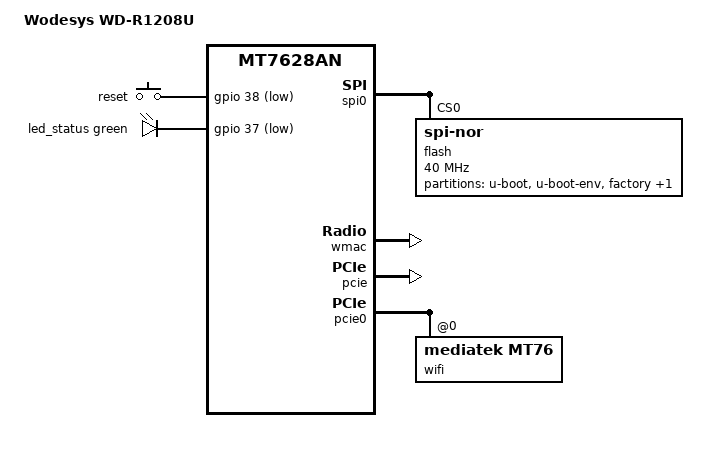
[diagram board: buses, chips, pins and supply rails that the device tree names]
// SPDX-License-Identifier: GPL-2.0-or-later OR MIT

#include "mt7628an.dtsi"

#include <dt-bindings/gpio/gpio.h>
#include <dt-bindings/input/input.h>
#include <dt-bindings/leds/common.h>

/ {
	compatible = "wodesys,wd-r1208u", "mediatek,mt7628an-soc";
	model = "Wodesys WD-R1208U";

	aliases {
		led-boot = &led_status;
		led-failsafe = &led_status;
		led-running = &led_status;
		led-upgrade = &led_status;
		label-mac-device = &wmac;
	};

	keys {
		compatible = "gpio-keys";

		button-reset { // both reset and wps button
			label = "reset";
			gpios = <&gpio 38 GPIO_ACTIVE_LOW>;
			linux,code = <KEY_RESTART>;
		};
	};

	leds {
		compatible = "gpio-leds";

		led_status: led-0 {
			function = LED_FUNCTION_STATUS;
			color = <LED_COLOR_ID_GREEN>;
			gpios = <&gpio 37 GPIO_ACTIVE_LOW>;
		};

		// non-GPIO LEDs:
		// Power, WLAN_2GHZ, WLAN_5GHZ, LAN
	};
};

&spi0 {
	status = "okay";

	flash@0 {
		compatible = "jedec,spi-nor";
		reg = <0>;
		spi-max-frequency = <40000000>;

		partitions {
			compatible = "fixed-partitions";
			#address-cells = <1>;
			#size-cells = <1>;

			partition@0 {
				label = "u-boot";
				reg = <0x0 0x30000>;
				read-only;
			};

			partition@30000 {
				label = "u-boot-env";
				reg = <0x30000 0x10000>;
				read-only;
			};

			partition@40000 {
				label = "factory";
				reg = <0x40000 0x10000>;
				read-only;

				nvmem-layout {
					compatible = "fixed-layout";
					#address-cells = <1>;
					#size-cells = <1>;

					eeprom_factory_0: eeprom@0 {
						reg = <0x0 0x400>;
					};

					eeprom_factory_8000: eeprom@8000 {
						reg = <0x8000 0x200>;
					};

					macaddr_factory_28: macaddr@28 {
						reg = <0x28 0x6>;
					};
				};
			};

			partition@50000 {
				compatible = "denx,uimage";
				label = "firmware";
				reg = <0x50000 0x7b0000>;
			};
		};
	};
};

&state_default {
	gpio {
		groups = "wdt", "refclk", "p4led_an";
		function = "gpio";
	};

        wlan {
                groups = "wled_an";
                function = "wled_an";
        };
};

&ethernet {
	nvmem-cells = <&macaddr_factory_28>;
	nvmem-cell-names = "mac-address";
};

&esw {
	mediatek,portdisable = <0x27>;
};

&wmac {
	status = "okay";

	nvmem-cells = <&eeprom_factory_0>;
	nvmem-cell-names = "eeprom";
};

&pcie {
	status = "okay";
};

&pcie0 {
	wifi@0,0 {
		compatible = "mediatek,mt76";
		reg = <0x0000 0 0 0 0>;
		nvmem-cells = <&eeprom_factory_8000>;
		nvmem-cell-names = "eeprom";
		ieee80211-freq-limit = <5000000 6000000>;

		led {
			led-sources = <2>;
			led-active-low;
		};
	};
};
